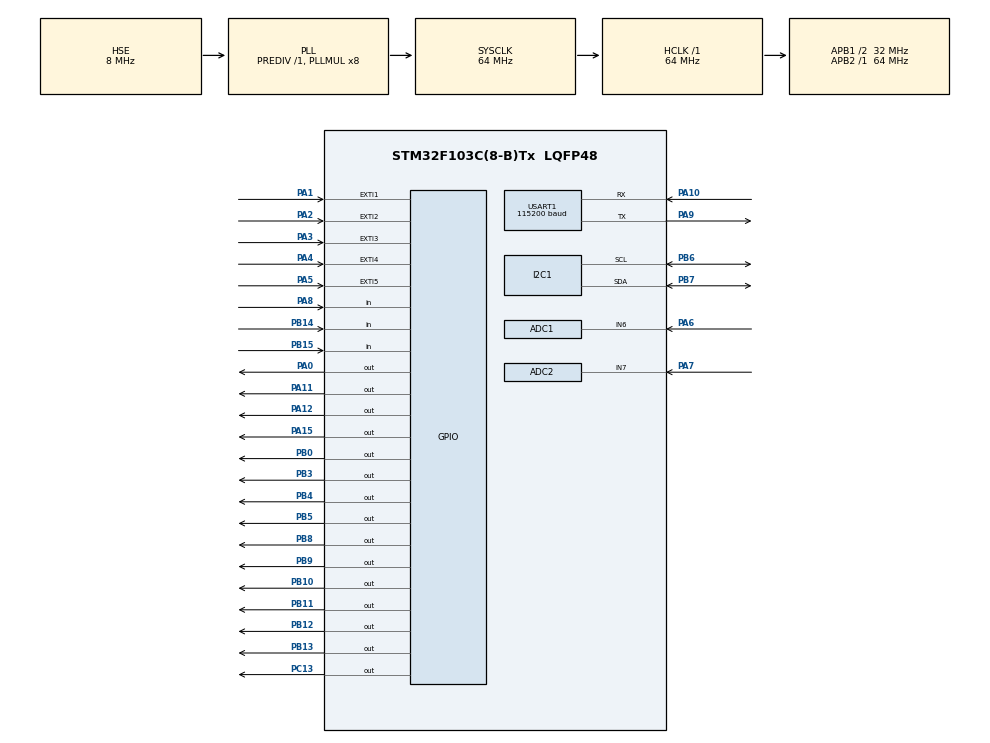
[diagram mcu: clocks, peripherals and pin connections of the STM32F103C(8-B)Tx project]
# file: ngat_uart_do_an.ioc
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ADC1.Channel-0\#ChannelRegularConversion=ADC_CHANNEL_6
ADC1.NbrOfConversionFlag=1
ADC1.Rank-0\#ChannelRegularConversion=1
ADC1.SamplingTime-0\#ChannelRegularConversion=ADC_SAMPLETIME_1CYCLE_5
ADC1.master=1
ADC2.Channel-0\#ChannelRegularConversion=ADC_CHANNEL_7
ADC2.NbrOfConversionFlag=1
ADC2.Rank-0\#ChannelRegularConversion=1
ADC2.SamplingTime-0\#ChannelRegularConversion=ADC_SAMPLETIME_1CYCLE_5
Mcu.Family=STM32F1
Mcu.Name=STM32F103C(8-B)Tx
Mcu.Package=LQFP48
NVIC.EXTI1_IRQn=true\:2\:0\:true\:false\:true\:true\:true\:true
NVIC.EXTI2_IRQn=true\:13\:0\:true\:false\:true\:true\:true\:true
NVIC.EXTI3_IRQn=true\:13\:0\:true\:false\:true\:true\:true\:true
NVIC.EXTI4_IRQn=true\:13\:0\:true\:false\:true\:true\:true\:true
NVIC.EXTI9_5_IRQn=true\:13\:0\:true\:false\:true\:true\:true\:true
NVIC.PriorityGroup=NVIC_PRIORITYGROUP_4
NVIC.TIM1_BRK_IRQn=true\:10\:0\:true\:false\:true\:true\:true\:true
NVIC.TIM1_CC_IRQn=true\:10\:0\:true\:false\:true\:true\:true\:true
NVIC.TIM1_TRG_COM_IRQn=true\:10\:0\:true\:false\:true\:true\:true\:true
NVIC.TIM1_UP_IRQn=true\:10\:0\:true\:false\:true\:true\:true\:true
NVIC.TIM2_IRQn=true\:2\:0\:true\:false\:true\:true\:true\:true
NVIC.TIM3_IRQn=true\:7\:0\:true\:false\:true\:true\:true\:true
NVIC.TIM4_IRQn=true\:0\:0\:false\:false\:true\:true\:true\:true
NVIC.USART1_IRQn=true\:1\:0\:true\:false\:true\:true\:true\:true
PA0-WKUP.GPIO_PuPd=GPIO_PULLUP
PA0-WKUP.Signal=GPIO_Output
PA1.GPIO_ModeDefaultEXTI=GPIO_MODE_IT_RISING_FALLING
PA1.GPIO_PuPd=GPIO_PULLUP
PA1.Signal=GPXTI1
PA10.Mode=Asynchronous
PA10.Signal=USART1_RX
PA11.GPIO_PuPd=GPIO_PULLUP
PA11.Signal=GPIO_Output
PA12.GPIO_PuPd=GPIO_PULLDOWN
PA12.Signal=GPIO_Output
PA15.Signal=GPIO_Output
PA2.GPIO_ModeDefaultEXTI=GPIO_MODE_IT_FALLING
PA2.GPIO_PuPd=GPIO_PULLUP
PA2.Signal=GPXTI2
PA3.GPIO_ModeDefaultEXTI=GPIO_MODE_IT_FALLING
PA3.GPIO_PuPd=GPIO_PULLUP
PA3.Signal=GPXTI3
PA4.GPIO_ModeDefaultEXTI=GPIO_MODE_IT_FALLING
PA4.GPIO_PuPd=GPIO_PULLUP
PA4.Signal=GPXTI4
PA5.GPIO_ModeDefaultEXTI=GPIO_MODE_IT_FALLING
PA5.GPIO_PuPd=GPIO_PULLUP
PA5.Signal=GPXTI5
PA6.Signal=ADCx_IN6
PA7.Signal=ADCx_IN7
PA8.GPIO_PuPd=GPIO_PULLUP
PA8.Signal=GPIO_Input
PA9.Mode=Asynchronous
PA9.Signal=USART1_TX
PB0.Signal=GPIO_Output
PB10.Signal=GPIO_Output
PB11.GPIO_PuPd=GPIO_PULLDOWN
PB11.Signal=GPIO_Output
PB12.Signal=GPIO_Output
PB13.Signal=GPIO_Output
PB14.GPIO_PuPd=GPIO_PULLUP
PB14.Signal=GPIO_Input
PB15.GPIO_PuPd=GPIO_PULLUP
PB15.Signal=GPIO_Input
PB3.Signal=GPIO_Output
PB4.Signal=GPIO_Output
PB5.Signal=GPIO_Output
PB6.Mode=I2C
PB6.Signal=I2C1_SCL
PB7.Mode=I2C
PB7.Signal=I2C1_SDA
PB8.Signal=GPIO_Output
PB9.Signal=GPIO_Output
PC13-TAMPER-RTC.Signal=GPIO_Output
PD0-OSC_IN.Mode=HSE-External-Oscillator
PD0-OSC_IN.Signal=RCC_OSC_IN
PD1-OSC_OUT.Mode=HSE-External-Oscillator
PD1-OSC_OUT.Signal=RCC_OSC_OUT
ProjectManager.HeapSize=0x200
ProjectManager.StackSize=0x400
ProjectManager.TargetToolchain=STM32CubeIDE
RCC.ADCPresc=RCC_ADCPCLK2_DIV8
RCC.AHBFreq_Value=64000000
RCC.APB1CLKDivider=RCC_HCLK_DIV2
RCC.APB1Freq_Value=32000000
RCC.APB1TimFreq_Value=64000000
RCC.APB2Freq_Value=64000000
RCC.APB2TimFreq_Value=64000000
RCC.HCLKFreq_Value=64000000
RCC.PLLMUL=RCC_PLL_MUL8
RCC.PLLSourceVirtual=RCC_PLLSOURCE_HSE
RCC.SYSCLKFreq_VALUE=64000000
RCC.SYSCLKSource=RCC_SYSCLKSOURCE_PLLCLK
RCC.USBFreq_Value=64000000
SH.ADCx_IN6.0=ADC1_IN6,IN6
SH.ADCx_IN7.0=ADC2_IN7,IN7
TIM1.AutoReloadPreload=TIM_AUTORELOAD_PRELOAD_ENABLE
TIM1.Period=10000
TIM1.Prescaler=63999
TIM2.AutoReloadPreload=TIM_AUTORELOAD_PRELOAD_ENABLE
TIM2.Prescaler=63
TIM3.AutoReloadPreload=TIM_AUTORELOAD_PRELOAD_ENABLE
TIM3.Period=1000
TIM3.Prescaler=63
TIM4.AutoReloadPreload=TIM_AUTORELOAD_PRELOAD_ENABLE
TIM4.Period=4000
TIM4.Prescaler=64
USART1.BaudRate=115200
USART1.VirtualMode=VM_ASYNC
VP_TIM1_VS_ClockSourceINT.Mode=Internal
VP_TIM2_VS_ClockSourceINT.Mode=Internal
VP_TIM3_VS_ClockSourceINT.Mode=Internal
VP_TIM4_VS_ClockSourceINT.Mode=Internal
board=custom

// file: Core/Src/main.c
/* USER CODE BEGIN Header */
/**
  ******************************************************************************
  * @file           : main.c
  * @brief          : Main program body
  ******************************************************************************
  * @attention
  *
  * Copyright (c) 2024 STMicroelectronics.
  * All rights reserved.
  *
  * This software is licensed under terms that can be found in the LICENSE file
  * in the root directory of this software component.
  * If no LICENSE file comes with this software, it is provided AS-IS.
  *
  ******************************************************************************
  */
/* USER CODE END Header */
#include "main.h"

/* USER CODE BEGIN Includes */
#define HIGH_LOAD 	0
#define LOW_LOAD 	1
/* USER CODE END Includes */

ADC_HandleTypeDef hadc1;
ADC_HandleTypeDef hadc2;

I2C_HandleTypeDef hi2c1;

TIM_HandleTypeDef htim1;
TIM_HandleTypeDef htim2;
TIM_HandleTypeDef htim3;
TIM_HandleTypeDef htim4;

UART_HandleTypeDef huart1;

void SystemClock_Config(void);
static void MX_GPIO_Init(void);
static void MX_USART1_UART_Init(void);
static void MX_TIM1_Init(void);
static void MX_I2C1_Init(void);
static void MX_TIM2_Init(void);
static void MX_TIM3_Init(void);
static void MX_ADC1_Init(void);
static void MX_ADC2_Init(void);
static void MX_TIM4_Init(void);

/* USER CODE BEGIN 0 */
#include <string.h>
#include <stdio.h>
#include <stdbool.h>
#include <LCD.h>
uint8_t dataRX[1];
uint8_t dataTX[10] = "da gui\n";
uint8_t dataTX1[10] = "trung roi\n";
uint8_t save_data_chuoi_OK[2] = {0,0};
uint8_t save_data_chuoi_CMQTT[5] = {0,0,0,0,0};
uint8_t so_sanh_chuoi_OK[2] = "OK";
uint8_t so_sanh_chuoi_CMQTT[5] = "CMQTT";
uint8_t save_data_chuoi_PB_DONE[7] = {0,0,0,0,0,0,0};
uint8_t so_sanh_chuoi_PB_DONE[7] = "PB DONE";
uint8_t save_data_chuoi_RX_PAYLOAD[15] = {0,0,0,0,0,0,0,0,0,0,0,0,0,0,0};
uint8_t so_sanh_chuoi_RX_PAYLOAD[15] = "CMQTTRXPAYLOAD:";
uint8_t so_sanh_chuoi_xuong_dong[1] = "\n";
uint8_t save_data_chuoi_RX_PAYLOAD_DATA[1] ={0};

uint8_t data_SIM1[40] = "AT+CGEREP=0\r\n";
uint8_t data_SIM2[40] = "AT+CMQTTSTART\r\n";
uint8_t data_SIM3[40] = "AT+CMQTTACCQ=0,\"clientID\"\r\n";
uint8_t data_SIM4[70] = "AT+CMQTTCONNECT=0,\"tcp://test.mosquitto.org:1883\",60,0\r\n";
uint8_t data_SIM5[40] = "AT+CMQTTTOPIC=0,5\r\n";
uint8_t data_SIM6[40] = "vonam\r\n";
uint8_t data_SIM7[40] = "AT+CMQTTPAYLOAD=0,35\r\n";
uint8_t data_SIM8[40] = "nhietdo 24 do am 67\r\n";
uint8_t data_SIM9[40] = "AT+CMQTTPUB=0,1,60,0,0\r\n";
uint8_t data_SIM10[40] = "AT+CMQTTSUB=0,7,1\r\n";
uint8_t data_SIM11[40] = "nhietdo\r\n";
int flag_check_OK = 0;
int flag_check_CMQTT = 0;
int flag_check_PB_DONE = 0;
int flag_check_RX_PAYLOAD = 0;
int flag_pass =0;
int flag_pass_RX_PAYLOAD =0;
int flag_phan_biet_xuong_dong_data =0;
int flag_pass_RX_PAYLOAD_next =0;
int count_data_pass_RX_PAYLOAD =0;
int flag_pass_all_RX_PAYLOAD =0;
int du_time_to_send_data =0;

uint8_t message[40];
volatile int led =0, quat =0, bom =0;
int nguong_adc_quang_tro = 3000,nguong_adc_do_am_dat = 3000;
int nguong_nhiet_do = 30;
int mode = 1;
int flag_mode_bang_tay =1;
int flag_mode_tu_dong =0;

uint32_t debounceDelay = 200; // Th�?i gian ch�? debounce (miliseconds)
volatile uint32_t lastDebounceTime = 0; // Th�?i gian debounce cuối cùng
uint32_t currentTime =0;
volatile uint32_t lastDebounceTime2 = 0; // Th�?i gian debounce cuối cùng
uint32_t currentTime2 =0;
volatile uint32_t lastDebounceTime3 = 0; // Th�?i gian debounce cuối cùng
uint32_t currentTime3 =0;
volatile uint32_t lastDebounceTime4 = 0; // Th�?i gian debounce cuối cùng
uint32_t currentTime4 =0;

int num1 =0;
int num2=0;
int num3=0;
int num4=0;
int num5 =0;
int num6 =0;
int num7=0;
int num8 =0;
int num9 =0;
int num0 =0;
int num_sao =0;
int num_thang =0;
volatile int a=0,b=0,c=0,d=0;

volatile uint32_t tick_lan_truoc = 0;
volatile uint32_t tick_hien_tai =0;
volatile uint32_t thoi_gian_tick = 0;
uint8_t tick[100];
uint8_t data_dht11[4] = {0x00,0x00,0x00,0x00};
int count_tick =0;

uint64_t count =0;
int count_state_lcd =1;
char  nhiet_do[20],do_am[20];
int adc_quang_tro =0,adc_do_am_dat =0;

int flag_send_data =0;
int flag_ngat_keypad =1;
int flag_number=0;
int flag_chuyen_lcd=1;
int flag_ngat_uart_xong_message=0;
int flag_lan_dau_nhap_mat_khau=0;
uint8_t message_gui_server[60];
uint8_t message_gui_server1[2];

char mat_khau_dung[6] = {1,2,3,4,5,6};
char mat_khau_user[6] = {0,0,0,0,0,0};
int count_mat_khau=0;
int count_may_chu_nhap_vao=0;
int flag_di_qua_nhap_mat_khau =0;
int flag_timer4 =0;

bool flag_disable_nut_nhan=0;
int status_previous_led =0;
int status_previous_quat =0;
int status_previous_bom =0;

void xu_ly_tick_dht11(uint8_t* tick,uint8_t* data_dht11);
void doc_dht11(void);
void update(void);
void send_data_to_server (void) {
	  flag_check_RX_PAYLOAD =0;
	  flag_check_OK =1;
	  flag_pass = 0;
	  HAL_UART_Transmit(&huart1, data_SIM5, strlen((const char*)data_SIM5), 10);
	  HAL_Delay(300);
	  update();
	  HAL_UART_Transmit(&huart1, data_SIM6, strlen((const char*)data_SIM6), 10);
	  HAL_Delay(100);
//	  while(flag_pass==0);
	  ////////////////////// 5 6//////////////////
	  update();
	  flag_pass = 0;
	  HAL_UART_Transmit(&huart1, data_SIM7, strlen((const char*)data_SIM7), 10);
	  HAL_Delay(300);
	  update();
	   a = led%2;
	   b = quat%2;
	   c = bom%2;
	   d = mode%2;
	   int check_led = HAL_GPIO_ReadPin(GPIOA, GPIO_PIN_8);
	   if(check_led ==1)
	   {
		   check_led =0;
	   } else {
		   check_led =1;
	   }
	   int check_quat = HAL_GPIO_ReadPin(GPIOB, GPIO_PIN_14);
	   if(check_quat ==1)
	   {
		   check_quat =0;
	   } else {
		   check_quat =1;
	   }
	   int check_bom = HAL_GPIO_ReadPin(GPIOB, GPIO_PIN_15);
	   if(check_bom ==1)
	   {
		   check_bom =0;
	   } else {
		   check_bom =1;
	   }
	  sprintf((char*)message_gui_server,"%d.%d %d.%d %d %d %d %d %d %d %d %d %d\n\n\n\n\n\n\n\n", data_dht11[2], data_dht11[3],data_dht11[0],data_dht11[1],adc_quang_tro,adc_do_am_dat,a,b,c,d,check_led,check_quat,check_bom);

	  UART10:
	  HAL_TIM_Base_Start_IT(&htim4);
	  flag_timer4=0;
	  __HAL_TIM_SET_COUNTER(&htim4,0);
	  HAL_UART_Transmit(&huart1, message_gui_server, strlen((const char*)message_gui_server), 500);
	  while(flag_pass==0){
		  if(flag_timer4 ==1)
		  {
			  HAL_TIM_Base_Start_IT(&htim4);
			  goto UART10;
		  }
	  }
	  flag_timer4=0;
	  __HAL_TIM_SET_COUNTER(&htim4,0);
	  HAL_TIM_Base_Stop_IT(&htim4);
	  //////////////////// 7 8//////////////////////////////

	  UART9:
	  HAL_TIM_Base_Start_IT(&htim4);
	  flag_timer4=0;
	  __HAL_TIM_SET_COUNTER(&htim4,0);
	  HAL_UART_Transmit(&huart1, data_SIM9, strlen((const char*)data_SIM9), 10);
	  while(flag_pass==0) {
		  if(flag_timer4 ==1)
		  {
			  HAL_TIM_Base_Start_IT(&htim4);
			  goto UART9;
		  }
	  }
	  flag_timer4=0;
	  __HAL_TIM_SET_COUNTER(&htim4,0);
	  HAL_TIM_Base_Stop_IT(&htim4);
	  flag_check_RX_PAYLOAD =1;
	  flag_check_OK =0;

	  memset(message_gui_server,0,sizeof(message_gui_server));

}

void init_sim(void) {
	  flag_check_RX_PAYLOAD =0;
	  flag_check_OK =1;

	  flag_pass = 0;
	  HAL_UART_Transmit(&huart1, data_SIM1, strlen((const char*)data_SIM1), 10);
	  while(flag_pass==0);
	  //////////////1//////////////////
	  flag_pass = 0;
	  HAL_UART_Transmit(&huart1, data_SIM2, strlen((const char*)data_SIM2), 10);
	  while(flag_pass==0);
	  ////////////////2///////////////////
	  flag_pass = 0;
	  UART3:
	  	  HAL_TIM_Base_Start_IT(&htim4);
	  	  flag_timer4=0;
	  	  __HAL_TIM_SET_COUNTER(&htim4,0);
	  	HAL_UART_Transmit(&huart1, data_SIM3, strlen((const char*)data_SIM3), 10);
	  	  while(flag_pass==0){
	  		  if(flag_timer4 ==1)
	  		  {
	  			  HAL_TIM_Base_Start_IT(&htim4);
	  			  goto UART3;
	  		  }
	  	  }
	  	  flag_timer4=0;
	  	  __HAL_TIM_SET_COUNTER(&htim4,0);
	  	  HAL_TIM_Base_Stop_IT(&htim4);
	  ////////////////////////3/////////////////////
	  flag_pass = 0;
	  HAL_UART_Transmit(&huart1, data_SIM4, strlen((const char*)data_SIM4), 10);
	  while(flag_pass==0);
	  flag_pass = 0;
	  HAL_UART_Transmit(&huart1, data_SIM10, (uint16_t)strlen((const char*)data_SIM10), 10);
	  HAL_Delay(100);
	  HAL_UART_Transmit(&huart1, data_SIM11, (uint16_t)strlen((const char*)data_SIM11), 10);
	  while(flag_pass==0);
	  flag_check_RX_PAYLOAD =1;
	  flag_check_OK =0;
	  flag_pass_all_RX_PAYLOAD = 0;

	  memset(data_SIM1,0,sizeof(data_SIM1));
	  memset(data_SIM1,0,sizeof(data_SIM2));
	  memset(data_SIM1,0,sizeof(data_SIM3));
	  memset(data_SIM1,0,sizeof(data_SIM4));
	  memset(data_SIM1,0,sizeof(data_SIM10));
	  memset(data_SIM1,0,sizeof(data_SIM11));
}
void update(void)
{
	switch( mode % 2 ) {
			  case 0:
			  {
				  flag_disable_nut_nhan=0;
				  flag_mode_bang_tay =1;
				  flag_mode_tu_dong =0;
				  HAL_GPIO_WritePin(GPIOB, GPIO_PIN_12, 1);
				  HAL_GPIO_WritePin(GPIOB, GPIO_PIN_13, 0);
				  status_previous_led=led;
				  status_previous_quat=quat;
				  status_previous_bom=bom;
				  if((led % 2) == 1)
				  {
					  HAL_GPIO_WritePin(GPIOA, GPIO_PIN_11, HIGH_LOAD);
				  }else{
					  HAL_GPIO_WritePin(GPIOA, GPIO_PIN_11, LOW_LOAD);
				  }
				  if((quat % 2) == 1)
				  {
					  HAL_GPIO_WritePin(GPIOA, GPIO_PIN_12, HIGH_LOAD);
				  }else{
					  HAL_GPIO_WritePin(GPIOA, GPIO_PIN_12, LOW_LOAD);
				  }
				  if((bom % 2) == 1)
				  {
					  HAL_GPIO_WritePin(GPIOA, GPIO_PIN_0, HIGH_LOAD);
				  }else{
					  HAL_GPIO_WritePin(GPIOA, GPIO_PIN_0, LOW_LOAD);
				  }
				  break;
			  }
			  case 1:
			  {
				  if(flag_di_qua_nhap_mat_khau==1){
					  flag_disable_nut_nhan=1;
				  } else {
					  flag_disable_nut_nhan=0;
				  }
				  flag_mode_tu_dong=1;
				  flag_mode_bang_tay =0;
				  HAL_GPIO_WritePin(GPIOB, GPIO_PIN_12, 0);
				  HAL_GPIO_WritePin(GPIOB, GPIO_PIN_13, 1);
				  int check_status_pre = ((status_previous_led%2) != (led%2)) || ((status_previous_quat%2) != (quat%2)) || ((status_previous_bom%2) != (bom%2));
				  status_previous_led=led;
				  status_previous_quat=quat;
				  status_previous_bom=bom;
				  if(check_status_pre) {
					  flag_ngat_keypad=1;
				  }
				  if( adc_quang_tro > nguong_adc_quang_tro)
				  {
					  HAL_GPIO_WritePin(GPIOA, GPIO_PIN_11, HIGH_LOAD);
					  led =1;
				  }else{
					  HAL_GPIO_WritePin(GPIOA, GPIO_PIN_11, LOW_LOAD);
					  led=0;
				  }
				  if(data_dht11[3] > nguong_nhiet_do)
				  {
					  HAL_GPIO_WritePin(GPIOA, GPIO_PIN_12, HIGH_LOAD);
					  quat=1;
				  }else{
					  HAL_GPIO_WritePin(GPIOA, GPIO_PIN_12, LOW_LOAD);
					  quat=0;
				  }
				  if(adc_do_am_dat > nguong_adc_do_am_dat)
				  {
					  HAL_GPIO_WritePin(GPIOA, GPIO_PIN_0, HIGH_LOAD);
					  bom=1;
				  }else{
					  HAL_GPIO_WritePin(GPIOA, GPIO_PIN_0, LOW_LOAD);
					  bom=0;
				  }
				  break;
			  }
		  }
}

/* USER CODE END 0 */

int main(void)
{

  /* MCU Configuration--------------------------------------------------------*/

  /* Reset of all peripherals, Initializes the Flash interface and the Systick. */
  HAL_Init();

  /* Configure the system clock */
  SystemClock_Config();

  /* USER CODE BEGIN SysInit */

  HAL_Delay(15000);
  /* USER CODE END SysInit */

  /* Initialize all configured peripherals */
  MX_GPIO_Init();
  MX_USART1_UART_Init();
  MX_TIM1_Init();
  MX_I2C1_Init();
  MX_TIM2_Init();
  MX_TIM3_Init();
  MX_ADC1_Init();
  MX_ADC2_Init();
  MX_TIM4_Init();
  /* USER CODE BEGIN 2 */
  HAL_NVIC_DisableIRQ(EXTI1_IRQn);
  HAL_TIM_Base_Stop_IT(&htim2);
  HAL_TIM_Base_Stop_IT(&htim3);
  HAL_UART_Receive_IT(&huart1, dataRX, 1);
  HAL_TIM_Base_Start_IT(&htim1);
  lcd_init();
  lcd_clear();
  lcd_put_cur(0,3);
  lcd_send_string("HELLO LCD");
  init_sim();

//  send_data_to_server();
  /* USER CODE END 2 */

  /* Infinite loop */
  while (1)
  {

    /* USER CODE BEGIN 3 */
//	  flag_check_RX_PAYLOAD =0;
//	  flag_check_OK =1;
//	  flag_pass = 0;
//	  HAL_UART_Transmit(&huart1, data_SIM1, strlen(data_SIM1), 10);
//	  while(flag_pass==0);
//	  //////////////1//////////////////
//	  flag_pass = 0;
//	  HAL_UART_Transmit(&huart1, data_SIM2, strlen(data_SIM2), 10);
//	  while(flag_pass==0);
//	  ////////////////2///////////////////
//	  flag_pass = 0;
//	  HAL_UART_Transmit(&huart1, data_SIM3, strlen(data_SIM3), 10);
//	  while(flag_pass==0);
//	  ////////////////////////3/////////////////////
//	  flag_pass = 0;
//	  HAL_UART_Transmit(&huart1, data_SIM4, strlen(data_SIM4), 10);
//	  while(flag_pass==0);
	  //////////////////////4//////////////////////////
//	  flag_pass = 0;
//	  HAL_UART_Transmit(&huart1, data_SIM5, strlen(data_SIM5), 10);
//	  HAL_Delay(100);
//	  HAL_UART_Transmit(&huart1, data_SIM6, strlen(data_SIM6), 10);
//	  while(flag_pass==0);
//	  ////////////////////// 5 6//////////////////
//	  flag_pass = 0;
//	  HAL_UART_Transmit(&huart1, data_SIM7, strlen(data_SIM7), 10);
//	  HAL_Delay(100);
//	  HAL_UART_Transmit(&huart1, data_SIM8, strlen(data_SIM8), 10);
//	  while(flag_pass==0);
//	  //////////////////// 7 8//////////////////////////////
//	  flag_pass = 0;
//	  HAL_UART_Transmit(&huart1, data_SIM9, strlen(data_SIM9), 10);
//	  while(flag_pass==0);
	  ///////////////////9 ///////////////////////

//	  flag_check_RX_PAYLOAD =1;
//	  flag_check_OK =0;
//	  flag_pass_all_RX_PAYLOAD = 0;
//	  HAL_UART_Transmit(&huart1, data_SIM10, strlen(data_SIM10), 10);
//	  HAL_Delay(100);
//	  HAL_UART_Transmit(&huart1, data_SIM11, strlen(data_SIM11), 10);
	  update();
		if ( flag_ngat_uart_xong_message )
		{
			flag_ngat_uart_xong_message=0;
			for(int i=0 ; i < sizeof(message); i++ )
			{
				message[i] = 0;
			}
		}
		if(flag_send_data)
		{
			flag_send_data =0;
			doc_dht11();
			HAL_Delay(10);
			xu_ly_tick_dht11(tick,data_dht11);

			sprintf(nhiet_do,"Nhiet do: %d.%doC", data_dht11[2], data_dht11[3]);
			sprintf(do_am, "Do am:  %d.%d ", data_dht11[0],data_dht11[1]);
			HAL_ADC_Start(&hadc1);
			HAL_Delay(50);
			HAL_ADC_Start(&hadc2);
			HAL_Delay(50);
			adc_quang_tro = HAL_ADC_GetValue(&hadc1);   // đ ?c adc quang trở
			HAL_Delay(50);
			adc_do_am_dat = HAL_ADC_GetValue(&hadc2);
			HAL_Delay(50);
			HAL_ADC_Stop(&hadc1);
			HAL_ADC_Stop(&hadc2);
			HAL_NVIC_DisableIRQ(EXTI2_IRQn);
			HAL_NVIC_DisableIRQ(EXTI3_IRQn);
			HAL_NVIC_DisableIRQ(EXTI4_IRQn);
			HAL_NVIC_DisableIRQ(EXTI9_5_IRQn);
			send_data_to_server();
			HAL_NVIC_EnableIRQ(EXTI2_IRQn);
			HAL_NVIC_EnableIRQ(EXTI3_IRQn);
			HAL_NVIC_EnableIRQ(EXTI4_IRQn);
			HAL_NVIC_EnableIRQ(EXTI9_5_IRQn);
		}
		update();
		if( flag_ngat_keypad )
		{
			flag_ngat_keypad=0;
			switch(count_state_lcd%4)
					{
						case 0:
						{
								lcd_clear();
								lcd_put_cur(0,0);
								lcd_send_string(nhiet_do);
								lcd_put_cur(1,0);
								lcd_send_string(do_am);
								break;
						}
						case 1:
						{

							if(flag_chuyen_lcd)
							{
								count_mat_khau=-1;
								count_may_chu_nhap_vao=0;
								flag_lan_dau_nhap_mat_khau =1;
								flag_chuyen_lcd=0;
								lcd_clear();
								lcd_put_cur(0,1);
								lcd_send_string("Nhap mat khau:");
								lcd_put_cur(1,0);
							}
								count_mat_khau++;
								count_may_chu_nhap_vao++;
							if(count_may_chu_nhap_vao>=2)
							{
								if(count_may_chu_nhap_vao==2){
									count_mat_khau=0;
								}
								if((flag_number <= 9) && (flag_number >=0))
								{
								mat_khau_user[count_mat_khau] = flag_number;
								}
								switch(flag_number)
								{
									case 1:
									{
										lcd_send_string("*");
										break;
									}
									case 2:
									{
										lcd_send_string("*");
										break;
									}
									case 3:
									{
										lcd_send_string("*");
										break;
									}
									case 4:
									{
										lcd_send_string("*");
										break;
									}
									case 5:
									{
										lcd_send_string("*");
										break;
									}
									case 6:
									{
										lcd_send_string("*");
										break;
									}
									case 7:
									{
										lcd_send_string("*");
										break;
									}
									case 8:
									{
										lcd_send_string("*");
										break;
									}
									case 9:
									{
										lcd_send_string("*");
										break;
									}
									case 0:
									{
										lcd_send_string("*");
										break;
									}
									case 11:
									{
										volatile int value_bang = 1;
										for(int i=0 ;i < 6 ; i++)
										{
											if(mat_khau_user[i] != mat_khau_dung[i])
											{
												value_bang=0;
												break;
											}
										}
										for(int i=0;i<6;i++)
										{
											mat_khau_user[i] =0;
										}
										if(value_bang) {
											count_state_lcd =2;
											flag_ngat_keypad=1;
											lcd_clear();
											lcd_put_cur(0,1);
											lcd_send_string("Mat khau dung ->>");
											flag_di_qua_nhap_mat_khau=1;
											HAL_Delay(2000);
										} else {
											count_state_lcd =1;
											flag_chuyen_lcd=1;
											flag_ngat_keypad=1;
											lcd_clear();
											lcd_put_cur(0,1);
											lcd_send_string("Mat khau sai ");
											lcd_put_cur(1,1);
											lcd_send_string("Moi nhap lai  ");
											HAL_Delay(2000);
										}
										break;
									}
									default :
									{
										lcd_send_string("0");
										break;
									}

								}

							}
								break;
						}
						case 2:
						{
							 lcd_clear();
							 lcd_put_cur(0,0);
							 lcd_send_string("Den  Quat  Bom");
							 lcd_put_cur(1,0);
							 if( led % 2)
							 {
								 lcd_send_string("Bat  ");
							 } else {
								 lcd_send_string("Tat  ");
							 }
							 if( quat % 2)
							 {
								 lcd_send_string("Bat  ");
							 } else {
								 lcd_send_string("Tat  ");
							 }
							 if( bom % 2)
							 {
								 lcd_send_string("Bat  ");
							 } else {
								 lcd_send_string("Tat  ");
							 }
							 break;
						}
						case 3:
						{
							lcd_clear();
							 lcd_put_cur(0,5);
							 lcd_send_string("Mode ");
							 lcd_put_cur(1,5);
							 if( mode % 2)
							 {
								 lcd_send_string("Tu Dong");
							 } else {
								 lcd_send_string("Bang Tay");
							 }
							 break;
						}
					}
		}
//		HAL_Delay(5000);
//	  if (du_time_to_send_data) {
//		  du_time_to_send_data=0;
//		  send_data_to_server();
//	  }
//	  send_data_to_server();
//	  HAL_Delay(7000);

  }
  /* USER CODE END 3 */
}

void SystemClock_Config(void)
{
  RCC_OscInitTypeDef RCC_OscInitStruct = {0};
  RCC_ClkInitTypeDef RCC_ClkInitStruct = {0};
  RCC_PeriphCLKInitTypeDef PeriphClkInit = {0};

  /** Initializes the RCC Oscillators according to the specified parameters
  * in the RCC_OscInitTypeDef structure.
  */
  RCC_OscInitStruct.OscillatorType = RCC_OSCILLATORTYPE_HSE;
  RCC_OscInitStruct.HSEState = RCC_HSE_ON;
  RCC_OscInitStruct.HSEPredivValue = RCC_HSE_PREDIV_DIV1;
  RCC_OscInitStruct.HSIState = RCC_HSI_ON;
  RCC_OscInitStruct.PLL.PLLState = RCC_PLL_ON;
  RCC_OscInitStruct.PLL.PLLSource = RCC_PLLSOURCE_HSE;
  RCC_OscInitStruct.PLL.PLLMUL = RCC_PLL_MUL8;
  if (HAL_RCC_OscConfig(&RCC_OscInitStruct) != HAL_OK)
  {
    Error_Handler();
  }

  /** Initializes the CPU, AHB and APB buses clocks
  */
  RCC_ClkInitStruct.ClockType = RCC_CLOCKTYPE_HCLK|RCC_CLOCKTYPE_SYSCLK
                              |RCC_CLOCKTYPE_PCLK1|RCC_CLOCKTYPE_PCLK2;
  RCC_ClkInitStruct.SYSCLKSource = RCC_SYSCLKSOURCE_PLLCLK;
  RCC_ClkInitStruct.AHBCLKDivider = RCC_SYSCLK_DIV1;
  RCC_ClkInitStruct.APB1CLKDivider = RCC_HCLK_DIV2;
  RCC_ClkInitStruct.APB2CLKDivider = RCC_HCLK_DIV1;

  if (HAL_RCC_ClockConfig(&RCC_ClkInitStruct, FLASH_LATENCY_2) != HAL_OK)
  {
    Error_Handler();
  }
  PeriphClkInit.PeriphClockSelection = RCC_PERIPHCLK_ADC;
  PeriphClkInit.AdcClockSelection = RCC_ADCPCLK2_DIV8;
  if (HAL_RCCEx_PeriphCLKConfig(&PeriphClkInit) != HAL_OK)
  {
    Error_Handler();
  }
}

static void MX_ADC1_Init(void)
{

  ADC_ChannelConfTypeDef sConfig = {0};

  /** Common config
  */
  hadc1.Instance = ADC1;
  hadc1.Init.ScanConvMode = ADC_SCAN_DISABLE;
  hadc1.Init.ContinuousConvMode = DISABLE;
  hadc1.Init.DiscontinuousConvMode = DISABLE;
  hadc1.Init.ExternalTrigConv = ADC_SOFTWARE_START;
  hadc1.Init.DataAlign = ADC_DATAALIGN_RIGHT;
  hadc1.Init.NbrOfConversion = 1;
  if (HAL_ADC_Init(&hadc1) != HAL_OK)
  {
    Error_Handler();
  }

  /** Configure Regular Channel
  */
  sConfig.Channel = ADC_CHANNEL_6;
  sConfig.Rank = ADC_REGULAR_RANK_1;
  sConfig.SamplingTime = ADC_SAMPLETIME_1CYCLE_5;
  if (HAL_ADC_ConfigChannel(&hadc1, &sConfig) != HAL_OK)
  {
    Error_Handler();
  }

}

static void MX_ADC2_Init(void)
{

  ADC_ChannelConfTypeDef sConfig = {0};

  /** Common config
  */
  hadc2.Instance = ADC2;
  hadc2.Init.ScanConvMode = ADC_SCAN_DISABLE;
  hadc2.Init.ContinuousConvMode = DISABLE;
  hadc2.Init.DiscontinuousConvMode = DISABLE;
  hadc2.Init.ExternalTrigConv = ADC_SOFTWARE_START;
  hadc2.Init.DataAlign = ADC_DATAALIGN_RIGHT;
  hadc2.Init.NbrOfConversion = 1;
  if (HAL_ADC_Init(&hadc2) != HAL_OK)
  {
    Error_Handler();
  }

  /** Configure Regular Channel
  */
  sConfig.Channel = ADC_CHANNEL_7;
  sConfig.Rank = ADC_REGULAR_RANK_1;
  sConfig.SamplingTime = ADC_SAMPLETIME_1CYCLE_5;
  if (HAL_ADC_ConfigChannel(&hadc2, &sConfig) != HAL_OK)
  {
    Error_Handler();
  }

}

static void MX_I2C1_Init(void)
{

  hi2c1.Instance = I2C1;
  hi2c1.Init.ClockSpeed = 100000;
  hi2c1.Init.DutyCycle = I2C_DUTYCYCLE_2;
  hi2c1.Init.OwnAddress1 = 0;
  hi2c1.Init.AddressingMode = I2C_ADDRESSINGMODE_7BIT;
  hi2c1.Init.DualAddressMode = I2C_DUALADDRESS_DISABLE;
  hi2c1.Init.OwnAddress2 = 0;
  hi2c1.Init.GeneralCallMode = I2C_GENERALCALL_DISABLE;
  hi2c1.Init.NoStretchMode = I2C_NOSTRETCH_DISABLE;
  if (HAL_I2C_Init(&hi2c1) != HAL_OK)
  {
    Error_Handler();
  }

}

static void MX_TIM1_Init(void)
{

  TIM_ClockConfigTypeDef sClockSourceConfig = {0};
  TIM_MasterConfigTypeDef sMasterConfig = {0};

  htim1.Instance = TIM1;
  htim1.Init.Prescaler = 63999;
  htim1.Init.CounterMode = TIM_COUNTERMODE_UP;
  htim1.Init.Period = 10000;
  htim1.Init.ClockDivision = TIM_CLOCKDIVISION_DIV1;
  htim1.Init.RepetitionCounter = 0;
  htim1.Init.AutoReloadPreload = TIM_AUTORELOAD_PRELOAD_ENABLE;
  if (HAL_TIM_Base_Init(&htim1) != HAL_OK)
  {
    Error_Handler();
  }
  sClockSourceConfig.ClockSource = TIM_CLOCKSOURCE_INTERNAL;
  if (HAL_TIM_ConfigClockSource(&htim1, &sClockSourceConfig) != HAL_OK)
  {
    Error_Handler();
  }
  sMasterConfig.MasterOutputTrigger = TIM_TRGO_RESET;
  sMasterConfig.MasterSlaveMode = TIM_MASTERSLAVEMODE_DISABLE;
  if (HAL_TIMEx_MasterConfigSynchronization(&htim1, &sMasterConfig) != HAL_OK)
  {
    Error_Handler();
  }

}

static void MX_TIM2_Init(void)
{

  TIM_ClockConfigTypeDef sClockSourceConfig = {0};
  TIM_MasterConfigTypeDef sMasterConfig = {0};

  htim2.Instance = TIM2;
  htim2.Init.Prescaler = 63;
  htim2.Init.CounterMode = TIM_COUNTERMODE_UP;
  htim2.Init.Period = 65535;
  htim2.Init.ClockDivision = TIM_CLOCKDIVISION_DIV1;
  htim2.Init.AutoReloadPreload = TIM_AUTORELOAD_PRELOAD_ENABLE;
  if (HAL_TIM_Base_Init(&htim2) != HAL_OK)
  {
    Error_Handler();
  }
  sClockSourceConfig.ClockSource = TIM_CLOCKSOURCE_INTERNAL;
  if (HAL_TIM_ConfigClockSource(&htim2, &sClockSourceConfig) != HAL_OK)
  {
    Error_Handler();
  }
  sMasterConfig.MasterOutputTrigger = TIM_TRGO_RESET;
  sMasterConfig.MasterSlaveMode = TIM_MASTERSLAVEMODE_DISABLE;
  if (HAL_TIMEx_MasterConfigSynchronization(&htim2, &sMasterConfig) != HAL_OK)
  {
    Error_Handler();
  }

}

static void MX_TIM3_Init(void)
{

  TIM_ClockConfigTypeDef sClockSourceConfig = {0};
  TIM_MasterConfigTypeDef sMasterConfig = {0};

  htim3.Instance = TIM3;
  htim3.Init.Prescaler = 63;
  htim3.Init.CounterMode = TIM_COUNTERMODE_UP;
  htim3.Init.Period = 1000;
  htim3.Init.ClockDivision = TIM_CLOCKDIVISION_DIV1;
  htim3.Init.AutoReloadPreload = TIM_AUTORELOAD_PRELOAD_ENABLE;
  if (HAL_TIM_Base_Init(&htim3) != HAL_OK)
  {
    Error_Handler();
  }
  sClockSourceConfig.ClockSource = TIM_CLOCKSOURCE_INTERNAL;
  if (HAL_TIM_ConfigClockSource(&htim3, &sClockSourceConfig) != HAL_OK)
  {
    Error_Handler();
  }
  sMasterConfig.MasterOutputTrigger = TIM_TRGO_RESET;
  sMasterConfig.MasterSlaveMode = TIM_MASTERSLAVEMODE_DISABLE;
  if (HAL_TIMEx_MasterConfigSynchronization(&htim3, &sMasterConfig) != HAL_OK)
  {
    Error_Handler();
  }

}

static void MX_TIM4_Init(void)
{

  TIM_ClockConfigTypeDef sClockSourceConfig = {0};
  TIM_MasterConfigTypeDef sMasterConfig = {0};

  htim4.Instance = TIM4;
  htim4.Init.Prescaler = 64;
  htim4.Init.CounterMode = TIM_COUNTERMODE_UP;
  htim4.Init.Period = 4000;
  htim4.Init.ClockDivision = TIM_CLOCKDIVISION_DIV1;
  htim4.Init.AutoReloadPreload = TIM_AUTORELOAD_PRELOAD_ENABLE;
  if (HAL_TIM_Base_Init(&htim4) != HAL_OK)
  {
    Error_Handler();
  }
  sClockSourceConfig.ClockSource = TIM_CLOCKSOURCE_INTERNAL;
  if (HAL_TIM_ConfigClockSource(&htim4, &sClockSourceConfig) != HAL_OK)
  {
    Error_Handler();
  }
  sMasterConfig.MasterOutputTrigger = TIM_TRGO_RESET;
  sMasterConfig.MasterSlaveMode = TIM_MASTERSLAVEMODE_DISABLE;
  if (HAL_TIMEx_MasterConfigSynchronization(&htim4, &sMasterConfig) != HAL_OK)
  {
    Error_Handler();
  }

}

static void MX_USART1_UART_Init(void)
{

  huart1.Instance = USART1;
  huart1.Init.BaudRate = 115200;
  huart1.Init.WordLength = UART_WORDLENGTH_8B;
  huart1.Init.StopBits = UART_STOPBITS_1;
  huart1.Init.Parity = UART_PARITY_NONE;
  huart1.Init.Mode = UART_MODE_TX_RX;
  huart1.Init.HwFlowCtl = UART_HWCONTROL_NONE;
  huart1.Init.OverSampling = UART_OVERSAMPLING_16;
  if (HAL_UART_Init(&huart1) != HAL_OK)
  {
    Error_Handler();
  }

}

static void MX_GPIO_Init(void)
{
  GPIO_InitTypeDef GPIO_InitStruct = {0};

  /* GPIO Ports Clock Enable */
  __HAL_RCC_GPIOC_CLK_ENABLE();
  __HAL_RCC_GPIOD_CLK_ENABLE();
  __HAL_RCC_GPIOA_CLK_ENABLE();
  __HAL_RCC_GPIOB_CLK_ENABLE();

  /*Configure GPIO pin Output Level */
  HAL_GPIO_WritePin(GPIOC, GPIO_PIN_13, GPIO_PIN_RESET);

  /*Configure GPIO pin Output Level */
  HAL_GPIO_WritePin(GPIOA, GPIO_PIN_0|GPIO_PIN_11|GPIO_PIN_12|GPIO_PIN_15, GPIO_PIN_RESET);

  /*Configure GPIO pin Output Level */
  HAL_GPIO_WritePin(GPIOB, GPIO_PIN_0|GPIO_PIN_10|GPIO_PIN_11|GPIO_PIN_12
                          |GPIO_PIN_13|GPIO_PIN_3|GPIO_PIN_4|GPIO_PIN_5
                          |GPIO_PIN_8|GPIO_PIN_9, GPIO_PIN_RESET);

  /*Configure GPIO pin : PC13 */
  GPIO_InitStruct.Pin = GPIO_PIN_13;
  GPIO_InitStruct.Mode = GPIO_MODE_OUTPUT_PP;
  GPIO_InitStruct.Pull = GPIO_NOPULL;
  GPIO_InitStruct.Speed = GPIO_SPEED_FREQ_LOW;
  HAL_GPIO_Init(GPIOC, &GPIO_InitStruct);

  /*Configure GPIO pins : PA0 PA11 */
  GPIO_InitStruct.Pin = GPIO_PIN_0|GPIO_PIN_11;
  GPIO_InitStruct.Mode = GPIO_MODE_OUTPUT_PP;
  GPIO_InitStruct.Pull = GPIO_PULLUP;
  GPIO_InitStruct.Speed = GPIO_SPEED_FREQ_LOW;
  HAL_GPIO_Init(GPIOA, &GPIO_InitStruct);

  /*Configure GPIO pin : PA1 */
  GPIO_InitStruct.Pin = GPIO_PIN_1;
  GPIO_InitStruct.Mode = GPIO_MODE_IT_RISING_FALLING;
  GPIO_InitStruct.Pull = GPIO_PULLUP;
  HAL_GPIO_Init(GPIOA, &GPIO_InitStruct);

  /*Configure GPIO pins : PA2 PA3 PA4 PA5 */
  GPIO_InitStruct.Pin = GPIO_PIN_2|GPIO_PIN_3|GPIO_PIN_4|GPIO_PIN_5;
  GPIO_InitStruct.Mode = GPIO_MODE_IT_FALLING;
  GPIO_InitStruct.Pull = GPIO_PULLUP;
  HAL_GPIO_Init(GPIOA, &GPIO_InitStruct);

  /*Configure GPIO pins : PB0 PB10 PB12 PB13
                           PB3 PB4 PB5 PB8
                           PB9 */
  GPIO_InitStruct.Pin = GPIO_PIN_0|GPIO_PIN_10|GPIO_PIN_12|GPIO_PIN_13
                          |GPIO_PIN_3|GPIO_PIN_4|GPIO_PIN_5|GPIO_PIN_8
                          |GPIO_PIN_9;
  GPIO_InitStruct.Mode = GPIO_MODE_OUTPUT_PP;
  GPIO_InitStruct.Pull = GPIO_NOPULL;
  GPIO_InitStruct.Speed = GPIO_SPEED_FREQ_LOW;
  HAL_GPIO_Init(GPIOB, &GPIO_InitStruct);

  /*Configure GPIO pin : PB11 */
  GPIO_InitStruct.Pin = GPIO_PIN_11;
  GPIO_InitStruct.Mode = GPIO_MODE_OUTPUT_PP;
  GPIO_InitStruct.Pull = GPIO_PULLDOWN;
  GPIO_InitStruct.Speed = GPIO_SPEED_FREQ_LOW;
  HAL_GPIO_Init(GPIOB, &GPIO_InitStruct);

  /*Configure GPIO pins : PB14 PB15 */
  GPIO_InitStruct.Pin = GPIO_PIN_14|GPIO_PIN_15;
  GPIO_InitStruct.Mode = GPIO_MODE_INPUT;
  GPIO_InitStruct.Pull = GPIO_PULLUP;
  HAL_GPIO_Init(GPIOB, &GPIO_InitStruct);

  /*Configure GPIO pin : PA8 */
  GPIO_InitStruct.Pin = GPIO_PIN_8;
  GPIO_InitStruct.Mode = GPIO_MODE_INPUT;
  GPIO_InitStruct.Pull = GPIO_PULLUP;
  HAL_GPIO_Init(GPIOA, &GPIO_InitStruct);

  /*Configure GPIO pin : PA12 */
  GPIO_InitStruct.Pin = GPIO_PIN_12;
  GPIO_InitStruct.Mode = GPIO_MODE_OUTPUT_PP;
  GPIO_InitStruct.Pull = GPIO_PULLDOWN;
  GPIO_InitStruct.Speed = GPIO_SPEED_FREQ_LOW;
  HAL_GPIO_Init(GPIOA, &GPIO_InitStruct);

  /*Configure GPIO pin : PA15 */
  GPIO_InitStruct.Pin = GPIO_PIN_15;
  GPIO_InitStruct.Mode = GPIO_MODE_OUTPUT_PP;
  GPIO_InitStruct.Pull = GPIO_NOPULL;
  GPIO_InitStruct.Speed = GPIO_SPEED_FREQ_LOW;
  HAL_GPIO_Init(GPIOA, &GPIO_InitStruct);

  /* EXTI interrupt init*/
  HAL_NVIC_SetPriority(EXTI1_IRQn, 2, 0);
  HAL_NVIC_EnableIRQ(EXTI1_IRQn);

  HAL_NVIC_SetPriority(EXTI2_IRQn, 13, 0);
  HAL_NVIC_EnableIRQ(EXTI2_IRQn);

  HAL_NVIC_SetPriority(EXTI3_IRQn, 13, 0);
  HAL_NVIC_EnableIRQ(EXTI3_IRQn);

  HAL_NVIC_SetPriority(EXTI4_IRQn, 13, 0);
  HAL_NVIC_EnableIRQ(EXTI4_IRQn);

  HAL_NVIC_SetPriority(EXTI9_5_IRQn, 13, 0);
  HAL_NVIC_EnableIRQ(EXTI9_5_IRQn);

}

/* USER CODE BEGIN 4 */
uint8_t save_data_test[20];
void HAL_UART_RxCpltCallback(UART_HandleTypeDef *huart)
{
//	if(huart->Instance == huart1.Instance)
//	{
//		if( *dataRX == 'F'){
//			HAL_UART_Transmit(huart, dataTX1, strlen(dataTX1), 10);
//		}
//		HAL_UART_Transmit(huart, dataTX, strlen(dataTX), 10);
//		HAL_GPIO_TogglePin(GPIOC, GPIO_PIN_13);
//		HAL_UART_Receive_IT(huart, dataRX, sizeof(dataRX));
//	}
	if(huart->Instance == huart1.Instance)
	{
		if(flag_check_OK)
		{
			save_data_chuoi_OK[0] = save_data_chuoi_OK[1];
			save_data_chuoi_OK[1]=*dataRX;
			HAL_UART_Receive_IT(huart, dataRX, 1);
//			for(int i=0; i < 19; i++){
//				save_data_test[i] = save_data_test[i+1];
//			}
//			save_data_test[19] = *dataRX;
			if(*dataRX == 'K') {
				if(strcmp((const char*)save_data_chuoi_OK,(const char*)so_sanh_chuoi_OK)==0){
					flag_pass=1;
				}
			}
//			HAL_UART_Transmit(huart, dataTX, strlen(dataTX), 10);
//			HAL_GPIO_TogglePin(GPIOC, GPIO_PIN_13);
		}
		if(flag_check_CMQTT)
		{
			for(int i=0; i < 4; i++){
				save_data_chuoi_CMQTT[i] = save_data_chuoi_CMQTT[i+1];
			}
			save_data_chuoi_CMQTT[4]=*dataRX;
			if(strcmp((const char*)save_data_chuoi_CMQTT,(const char*)so_sanh_chuoi_CMQTT)==0){
				HAL_UART_Transmit(huart, dataTX1, strlen((const char*)dataTX1), 10);
			}
//			HAL_UART_Transmit(huart, dataTX, strlen(dataTX), 10);
//			HAL_GPIO_TogglePin(GPIOC, GPIO_PIN_13);
			HAL_UART_Receive_IT(huart, dataRX, sizeof(dataRX));
		}
		if(flag_check_PB_DONE)
		{
			for(int i=0; i < 6; i++){
				save_data_chuoi_PB_DONE[i] = save_data_chuoi_PB_DONE[i+1];
			}
			save_data_chuoi_PB_DONE[6]=*dataRX;
			if(strcmp((const char*)save_data_chuoi_PB_DONE,(const char*)so_sanh_chuoi_PB_DONE)==0){
				HAL_UART_Transmit(huart, dataTX1, strlen((const char*)dataTX1), 10);
			}
			HAL_UART_Receive_IT(huart, dataRX, sizeof(dataRX));
		}
		if(flag_check_RX_PAYLOAD)
		{
			if(flag_pass_RX_PAYLOAD==0)
			{
				for(int i=0; i < 14; i++){
					save_data_chuoi_RX_PAYLOAD[i] = save_data_chuoi_RX_PAYLOAD[i+1];
				}
				save_data_chuoi_RX_PAYLOAD[14]=*dataRX;
				if(strcmp((const char*)save_data_chuoi_RX_PAYLOAD,(const char*)so_sanh_chuoi_RX_PAYLOAD)==0){
					flag_pass_RX_PAYLOAD = 1;
	//				HAL_UART_Transmit(huart, dataTX1, strlen(dataTX1), 10);
				}
			}
			if(flag_pass_RX_PAYLOAD) {
				__HAL_TIM_SET_COUNTER(&htim1, 0);
				HAL_TIM_Base_Stop_IT(&htim1);
				if(flag_pass_RX_PAYLOAD_next)
				{
					message[count_data_pass_RX_PAYLOAD] = *dataRX;
					count_data_pass_RX_PAYLOAD++;
					if(*dataRX == '\n'){
						count_data_pass_RX_PAYLOAD=0;
						flag_phan_biet_xuong_dong_data = 1;
						flag_pass_RX_PAYLOAD_next =0;
						flag_pass_all_RX_PAYLOAD =1;
						flag_pass_RX_PAYLOAD =0;
						flag_ngat_uart_xong_message=1;
						sscanf((const char*)message, "%d %d %d %d %d %d %d", &led, &quat, &bom,&mode,&nguong_adc_quang_tro,&nguong_adc_do_am_dat,&nguong_nhiet_do);
						for(int i=0 ; i < sizeof(message); i++ )
						{
							message[i] = 0;
						}
						flag_ngat_keypad=1;
						flag_send_data=1;
						HAL_TIM_Base_Start_IT(&htim1);

					}

				}
				save_data_chuoi_RX_PAYLOAD_DATA[0] = *dataRX;
				if(strcmp((const char*)save_data_chuoi_RX_PAYLOAD_DATA,(const char*)so_sanh_chuoi_xuong_dong)==0)
				{
					if(!flag_phan_biet_xuong_dong_data) {
						flag_pass_RX_PAYLOAD_next =1;
					}

				}
			}
			flag_phan_biet_xuong_dong_data = 0;
			HAL_UART_Receive_IT(huart, dataRX, 1);
		}

	}
}

void HAL_TIM_PeriodElapsedCallback (TIM_HandleTypeDef *htim)
{
	if(htim->Instance == TIM1)
	{
//		send_data_to_server();
		flag_send_data=1;
		du_time_to_send_data=1;
	}

	if(htim->Instance == TIM2)
		{
			count++;
		}
	if(htim->Instance == TIM3)
	{
		flag_ngat_keypad=1;
		HAL_TIM_Base_Stop_IT(&htim3);
	}
	if(htim->Instance == TIM4)
	{
		HAL_TIM_Base_Stop_IT(&htim4);
		flag_timer4=1;
	}
}

void HAL_GPIO_EXTI_Callback(uint16_t GPIO_Pin)
{
	if(GPIO_Pin == GPIO_PIN_2)
	{

		currentTime = HAL_GetTick(); // Lấy th�?i gian hiện tại
		if ((currentTime - lastDebounceTime) > debounceDelay)
		{
			// Cập nhật trạng thái nút nhấn chỉ khi đã qua th�?i gian debounce
			if (HAL_GPIO_ReadPin(GPIOA, GPIO_PIN_2) == 0)
			{
				HAL_GPIO_WritePin(GPIOB, GPIO_PIN_8,0);
				HAL_GPIO_WritePin(GPIOB, GPIO_PIN_9,1);
				HAL_GPIO_WritePin(GPIOB, GPIO_PIN_10,1);
				HAL_GPIO_WritePin(GPIOB, GPIO_PIN_0,1);
				if ((HAL_GPIO_ReadPin(GPIOA, GPIO_PIN_2) == 0) && (flag_disable_nut_nhan==0))
				{
//					  GPIO_InitTypeDef GPIO_InitStruct = {0};
//					  GPIO_InitStruct.Pin = GPIO_PIN_2;
//					  GPIO_InitStruct.Mode = GPIO_MODE_IT_RISING;
//					  GPIO_InitStruct.Pull = GPIO_PULLUP;
//					  HAL_GPIO_Init(GPIOA, &GPIO_InitStruct);
//					num1_state1++;
//					flag_number_state1=1;
//					flag_ngat_keypad_state1=1;
//					  state_ngat_2 =1;
//					  state_ngat_1=0;
					num1++;
					flag_number=1;
					flag_ngat_keypad=1;

				} else {
					HAL_GPIO_WritePin(GPIOB, GPIO_PIN_8,1);
					HAL_GPIO_WritePin(GPIOB, GPIO_PIN_9,0);
					HAL_GPIO_WritePin(GPIOB, GPIO_PIN_10,1);
					HAL_GPIO_WritePin(GPIOB, GPIO_PIN_0,1);
					if ((HAL_GPIO_ReadPin(GPIOA, GPIO_PIN_2) == 0)&& (flag_disable_nut_nhan==0))
					{
						num2++;
						flag_number=2;
						flag_ngat_keypad=1;
					} else {
						HAL_GPIO_WritePin(GPIOB, GPIO_PIN_8,1);
						HAL_GPIO_WritePin(GPIOB, GPIO_PIN_9,1);
						HAL_GPIO_WritePin(GPIOB, GPIO_PIN_10,0);
						HAL_GPIO_WritePin(GPIOB, GPIO_PIN_0,1);
						if ((HAL_GPIO_ReadPin(GPIOA, GPIO_PIN_2) == 0)&& (flag_disable_nut_nhan==0))
						{
							num3++;
							flag_number=3;
							flag_ngat_keypad=1;
						} else {
							HAL_GPIO_WritePin(GPIOB, GPIO_PIN_8,1);
							HAL_GPIO_WritePin(GPIOB, GPIO_PIN_9,1);
							HAL_GPIO_WritePin(GPIOB, GPIO_PIN_10,1);
							HAL_GPIO_WritePin(GPIOB, GPIO_PIN_0,0);
							if ((HAL_GPIO_ReadPin(GPIOA, GPIO_PIN_2) == 0)&& (flag_disable_nut_nhan==0))
							{
								if( flag_di_qua_nhap_mat_khau )
								{
									led++;
									flag_number=10;
									flag_ngat_keypad=1;
								}
							}
						}
					}
				}

				HAL_GPIO_WritePin(GPIOB, GPIO_PIN_8,0);
				HAL_GPIO_WritePin(GPIOB, GPIO_PIN_9,0);
				HAL_GPIO_WritePin(GPIOB, GPIO_PIN_10,0);
				HAL_GPIO_WritePin(GPIOB, GPIO_PIN_0,0);
			}
//			if(state_ngat_2==1) {
//				currentTime = HAL_GetTick(); // Lấy th�?i gian hiện tại
//				if ((currentTime - lastDebounceTime) > debounceDelay)
//				{
//					if (HAL_GPIO_ReadPin(GPIOA, GPIO_PIN_2) == 1)
//					{
//						num1++=num1_state_1;
//						flag_number=num1_state_1;
//						flag_ngat_keypad=1;
//					}
//				}
//				lastDebounceTime = currentTime; // Cập nhật th�?i gian debounce cuối cùng
//			}

			lastDebounceTime = currentTime; // Cập nhật th�?i gian debounce cuối cùng
		}
	}

	if(GPIO_Pin == GPIO_PIN_3)
		{
			currentTime = HAL_GetTick(); // Lấy th�?i gian hiện tại
			if ((currentTime - lastDebounceTime) > debounceDelay)
			{
				// Cập nhật trạng thái nút nhấn chỉ khi đã qua th�?i gian debounce
				if (HAL_GPIO_ReadPin(GPIOA, GPIO_PIN_3) == 0)
				{
					HAL_GPIO_WritePin(GPIOB, GPIO_PIN_8,0);
					HAL_GPIO_WritePin(GPIOB, GPIO_PIN_9,1);
					HAL_GPIO_WritePin(GPIOB, GPIO_PIN_10,1);
					HAL_GPIO_WritePin(GPIOB, GPIO_PIN_0,1);
					if ((HAL_GPIO_ReadPin(GPIOA, GPIO_PIN_3) == 0)&& (flag_disable_nut_nhan==0))
					{
						num4++;
						flag_number=4;
						flag_ngat_keypad=1;
					} else {
						HAL_GPIO_WritePin(GPIOB, GPIO_PIN_8,1);
						HAL_GPIO_WritePin(GPIOB, GPIO_PIN_9,0);
						HAL_GPIO_WritePin(GPIOB, GPIO_PIN_10,1);
						HAL_GPIO_WritePin(GPIOB, GPIO_PIN_0,1);
						if ((HAL_GPIO_ReadPin(GPIOA, GPIO_PIN_3) == 0)&& (flag_disable_nut_nhan==0))
						{
							num5++;
							flag_number=5;
							flag_ngat_keypad=1;
						} else {
							HAL_GPIO_WritePin(GPIOB, GPIO_PIN_8,1);
							HAL_GPIO_WritePin(GPIOB, GPIO_PIN_9,1);
							HAL_GPIO_WritePin(GPIOB, GPIO_PIN_10,0);
							HAL_GPIO_WritePin(GPIOB, GPIO_PIN_0,1);
							if ((HAL_GPIO_ReadPin(GPIOA, GPIO_PIN_3) == 0)&& (flag_disable_nut_nhan==0))
							{
								num6++;
								flag_number=6;
								flag_ngat_keypad=1;
							} else {
								HAL_GPIO_WritePin(GPIOB, GPIO_PIN_8,1);
								HAL_GPIO_WritePin(GPIOB, GPIO_PIN_9,1);
								HAL_GPIO_WritePin(GPIOB, GPIO_PIN_10,1);
								HAL_GPIO_WritePin(GPIOB, GPIO_PIN_0,0);
								if ((HAL_GPIO_ReadPin(GPIOA, GPIO_PIN_3) == 0)&& (flag_disable_nut_nhan==0))
								{
									if( flag_di_qua_nhap_mat_khau )
									{
										quat++;
										flag_number=10;
										flag_ngat_keypad=1;
									}
								}
							}
						}
					}

					HAL_GPIO_WritePin(GPIOB, GPIO_PIN_8,0);
					HAL_GPIO_WritePin(GPIOB, GPIO_PIN_9,0);
					HAL_GPIO_WritePin(GPIOB, GPIO_PIN_10,0);
					HAL_GPIO_WritePin(GPIOB, GPIO_PIN_0,0);
				}

				lastDebounceTime = currentTime; // Cập nhật th�?i gian debounce cuối cùng
			}
		}

	if(GPIO_Pin == GPIO_PIN_4)
		{
			currentTime = HAL_GetTick(); // Lấy th�?i gian hiện tại
			if ((currentTime - lastDebounceTime) > debounceDelay)
			{
				// Cập nhật trạng thái nút nhấn chỉ khi đã qua th�?i gian debounce
				if ((HAL_GPIO_ReadPin(GPIOA, GPIO_PIN_4) == 0)&& (flag_disable_nut_nhan==0))
				{
					HAL_GPIO_WritePin(GPIOB, GPIO_PIN_8,0);
					HAL_GPIO_WritePin(GPIOB, GPIO_PIN_9,1);
					HAL_GPIO_WritePin(GPIOB, GPIO_PIN_10,1);
					HAL_GPIO_WritePin(GPIOB, GPIO_PIN_0,1);
					if ((HAL_GPIO_ReadPin(GPIOA, GPIO_PIN_4) == 0)&& (flag_disable_nut_nhan==0))
					{
						num7++;
						flag_number=7;
						flag_ngat_keypad=1;
					} else {
						HAL_GPIO_WritePin(GPIOB, GPIO_PIN_8,1);
						HAL_GPIO_WritePin(GPIOB, GPIO_PIN_9,0);
						HAL_GPIO_WritePin(GPIOB, GPIO_PIN_10,1);
						HAL_GPIO_WritePin(GPIOB, GPIO_PIN_0,1);
						if ((HAL_GPIO_ReadPin(GPIOA, GPIO_PIN_4) == 0)&& (flag_disable_nut_nhan==0))
						{
							num8++;
							flag_number=8;
							flag_ngat_keypad=1;
						} else {
							HAL_GPIO_WritePin(GPIOB, GPIO_PIN_8,1);
							HAL_GPIO_WritePin(GPIOB, GPIO_PIN_9,1);
							HAL_GPIO_WritePin(GPIOB, GPIO_PIN_10,0);
							HAL_GPIO_WritePin(GPIOB, GPIO_PIN_0,1);
							if ((HAL_GPIO_ReadPin(GPIOA, GPIO_PIN_4) == 0)&& (flag_disable_nut_nhan==0))
							{
								num9++;
								flag_number=9;
								flag_ngat_keypad=1;
							} else {
								HAL_GPIO_WritePin(GPIOB, GPIO_PIN_8,1);
								HAL_GPIO_WritePin(GPIOB, GPIO_PIN_9,1);
								HAL_GPIO_WritePin(GPIOB, GPIO_PIN_10,1);
								HAL_GPIO_WritePin(GPIOB, GPIO_PIN_0,0);
								if ((HAL_GPIO_ReadPin(GPIOA, GPIO_PIN_4) == 0)&& (flag_disable_nut_nhan==0))
								{
									if( flag_di_qua_nhap_mat_khau )
									{
										bom++;
										flag_number=10;
										flag_ngat_keypad=1;
									}
								}
							}
						}
					}

					HAL_GPIO_WritePin(GPIOB, GPIO_PIN_8,0);
					HAL_GPIO_WritePin(GPIOB, GPIO_PIN_9,0);
					HAL_GPIO_WritePin(GPIOB, GPIO_PIN_10,0);
					HAL_GPIO_WritePin(GPIOB, GPIO_PIN_0,0);
				}

				lastDebounceTime = currentTime; // Cập nhật th�?i gian debounce cuối cùng
			}
		}

	if(GPIO_Pin == GPIO_PIN_5)
		{
			currentTime = HAL_GetTick(); // Lấy th�?i gian hiện tại
			if ((currentTime - lastDebounceTime) > debounceDelay)
			{
				// Cập nhật trạng thái nút nhấn chỉ khi đã qua th�?i gian debounce
				if (HAL_GPIO_ReadPin(GPIOA, GPIO_PIN_5) == 0)
				{
					HAL_GPIO_WritePin(GPIOB, GPIO_PIN_8,0);
					HAL_GPIO_WritePin(GPIOB, GPIO_PIN_9,1);
					HAL_GPIO_WritePin(GPIOB, GPIO_PIN_10,1);
					HAL_GPIO_WritePin(GPIOB, GPIO_PIN_0,1);
					if (HAL_GPIO_ReadPin(GPIOA, GPIO_PIN_5) == 0)
					{
						if( flag_di_qua_nhap_mat_khau )
						{
							num_sao++;
							count_state_lcd ++;
							flag_chuyen_lcd=1;
							flag_number=10;
							flag_ngat_keypad=1;
						}
					} else {
						HAL_GPIO_WritePin(GPIOB, GPIO_PIN_8,1);
						HAL_GPIO_WritePin(GPIOB, GPIO_PIN_9,0);
						HAL_GPIO_WritePin(GPIOB, GPIO_PIN_10,1);
						HAL_GPIO_WritePin(GPIOB, GPIO_PIN_0,1);
						if ((HAL_GPIO_ReadPin(GPIOA, GPIO_PIN_5) == 0)&& (flag_disable_nut_nhan==0))
						{
							num0++;
							flag_number=0;
							flag_ngat_keypad=1;
						} else {
							HAL_GPIO_WritePin(GPIOB, GPIO_PIN_8,1);
							HAL_GPIO_WritePin(GPIOB, GPIO_PIN_9,1);
							HAL_GPIO_WritePin(GPIOB, GPIO_PIN_10,0);
							HAL_GPIO_WritePin(GPIOB, GPIO_PIN_0,1);
							if ((HAL_GPIO_ReadPin(GPIOA, GPIO_PIN_5) == 0)&& (flag_disable_nut_nhan==0))
							{
								num_thang++;
								flag_number=11;
								flag_ngat_keypad=1;
							} else {
								HAL_GPIO_WritePin(GPIOB, GPIO_PIN_8,1);
								HAL_GPIO_WritePin(GPIOB, GPIO_PIN_9,1);
								HAL_GPIO_WritePin(GPIOB, GPIO_PIN_10,1);
								HAL_GPIO_WritePin(GPIOB, GPIO_PIN_0,0);
								if (HAL_GPIO_ReadPin(GPIOA, GPIO_PIN_5) == 0)
								{
									if( flag_di_qua_nhap_mat_khau )
									{
										mode++;
										flag_number=10;
										flag_ngat_keypad=1;
									}
								}
							}
						}
					}

					HAL_GPIO_WritePin(GPIOB, GPIO_PIN_8,0);
					HAL_GPIO_WritePin(GPIOB, GPIO_PIN_9,0);
					HAL_GPIO_WritePin(GPIOB, GPIO_PIN_10,0);
					HAL_GPIO_WritePin(GPIOB, GPIO_PIN_0,0);
				}

				lastDebounceTime = currentTime; // Cập nhật th�?i gian debounce cuối cùng
			}
		}
	if(GPIO_Pin == GPIO_PIN_1)
		{

				tick_hien_tai = __HAL_TIM_GET_COUNTER(&htim2);
				thoi_gian_tick = tick_hien_tai - tick_lan_truoc;
				tick_lan_truoc = tick_hien_tai;
				tick[count_tick] = thoi_gian_tick;
				count_tick++;
				if(count_tick >84)
				{
					  HAL_TIM_Base_Stop_IT(&htim2);
					  HAL_NVIC_DisableIRQ(EXTI1_IRQn);
					  GPIO_InitTypeDef GPIO_InitStruct = {0};
					  GPIO_InitStruct.Pull = GPIO_NOPULL;
					  GPIO_InitStruct.Mode = GPIO_MODE_OUTPUT_PP  ;
					  GPIO_InitStruct.Pin = GPIO_PIN_1;
					  GPIO_InitStruct.Speed = GPIO_SPEED_FREQ_LOW;
					  HAL_GPIO_Init(GPIOA, &GPIO_InitStruct);
				}
		}

}

void xu_ly_tick_dht11(uint8_t* tick,uint8_t* data_dht11)
{
	HAL_TIM_Base_Stop_IT(&htim2);
	HAL_NVIC_DisableIRQ(EXTI1_IRQn);
	int count_data_dht11=0;
	for(int i =4;i<= 82;i+=2)
	{
			data_dht11[count_data_dht11/8] <<= 1;
			if( tick[i] > tick[i+1] ) {
				data_dht11[count_data_dht11/8] |= 0;
			}	else {

				data_dht11[count_data_dht11/8] |= 1;
			}
		count_data_dht11++;
	}

}

void doc_dht11(void)
{
	HAL_TIM_Base_Start_IT(&htim2);
	HAL_NVIC_DisableIRQ(EXTI1_IRQn);
	count_tick =0;
	GPIO_InitTypeDef GPIO_InitStruct = {0};

	  GPIO_InitStruct.Pull = GPIO_PULLUP;
	  GPIO_InitStruct.Mode = GPIO_MODE_INPUT ;
	  GPIO_InitStruct.Pin = GPIO_PIN_1;
	  GPIO_InitStruct.Speed = GPIO_SPEED_FREQ_LOW;
	  HAL_GPIO_Init(GPIOA, &GPIO_InitStruct);

	  HAL_Delay(1);

	GPIO_InitStruct.Pull = GPIO_NOPULL;
	GPIO_InitStruct.Mode = GPIO_MODE_OUTPUT_PP  ;
	GPIO_InitStruct.Pin = GPIO_PIN_1;
	GPIO_InitStruct.Speed = GPIO_SPEED_FREQ_LOW;
	HAL_GPIO_Init(GPIOA, &GPIO_InitStruct);

	HAL_GPIO_WritePin(GPIOA, GPIO_PIN_1, 0);

	HAL_Delay(20);
	if(count_tick ==0)
	{
		__HAL_TIM_SET_COUNTER(&htim2,0);
		tick_lan_truoc=0;
	}
	GPIO_InitStruct.Pin = GPIO_PIN_1;
	GPIO_InitStruct.Mode = GPIO_MODE_IT_RISING_FALLING;
	GPIO_InitStruct.Pull = GPIO_PULLUP;
	HAL_GPIO_Init(GPIOA, &GPIO_InitStruct);
	HAL_NVIC_EnableIRQ(EXTI1_IRQn);

}

/* USER CODE END 4 */

void Error_Handler(void)
{
  __disable_irq();
  while (1)
  {
  }
}
